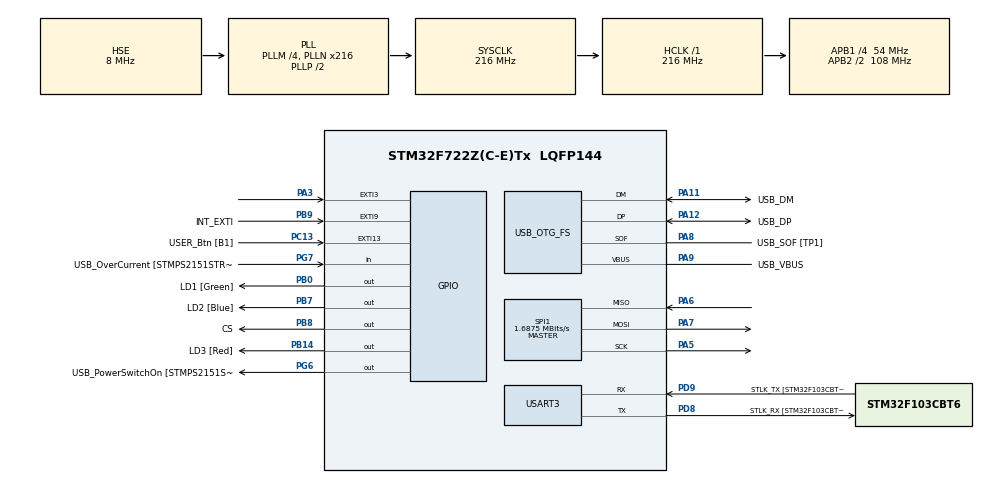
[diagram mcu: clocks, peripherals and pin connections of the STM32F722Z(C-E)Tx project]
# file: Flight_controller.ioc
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Dma.Request0=SPI1_RX
Dma.Request1=SPI1_TX
Dma.SPI1_RX.0.Direction=DMA_PERIPH_TO_MEMORY
Dma.SPI1_RX.0.FIFOMode=DMA_FIFOMODE_DISABLE
Dma.SPI1_RX.0.Instance=DMA2_Stream0
Dma.SPI1_RX.0.MemDataAlignment=DMA_MDATAALIGN_BYTE
Dma.SPI1_RX.0.MemInc=DMA_MINC_ENABLE
Dma.SPI1_RX.0.Mode=DMA_NORMAL
Dma.SPI1_RX.0.PeriphDataAlignment=DMA_PDATAALIGN_BYTE
Dma.SPI1_RX.0.PeriphInc=DMA_PINC_DISABLE
Dma.SPI1_RX.0.Priority=DMA_PRIORITY_HIGH
Dma.SPI1_TX.1.Direction=DMA_MEMORY_TO_PERIPH
Dma.SPI1_TX.1.FIFOMode=DMA_FIFOMODE_DISABLE
Dma.SPI1_TX.1.Instance=DMA2_Stream3
Dma.SPI1_TX.1.MemDataAlignment=DMA_MDATAALIGN_BYTE
Dma.SPI1_TX.1.MemInc=DMA_MINC_ENABLE
Dma.SPI1_TX.1.Mode=DMA_NORMAL
Dma.SPI1_TX.1.PeriphDataAlignment=DMA_PDATAALIGN_BYTE
Dma.SPI1_TX.1.PeriphInc=DMA_PINC_DISABLE
Dma.SPI1_TX.1.Priority=DMA_PRIORITY_HIGH
Mcu.Family=STM32F7
Mcu.Name=STM32F722Z(C-E)Tx
Mcu.Package=LQFP144
NVIC.DMA2_Stream0_IRQn=true\:0\:0\:false\:false\:true\:false\:true\:true
NVIC.DMA2_Stream3_IRQn=true\:0\:0\:false\:false\:true\:false\:true\:true
NVIC.PriorityGroup=NVIC_PRIORITYGROUP_4
NVIC.SPI1_IRQn=true\:0\:0\:false\:false\:true\:true\:true\:true
PA10.GPIO_Label=USB_ID
PA10.Signal=USB_OTG_FS_ID
PA11.GPIO_Label=USB_DM
PA11.Mode=Device_Only
PA11.Signal=USB_OTG_FS_DM
PA12.GPIO_Label=USB_DP
PA12.Mode=Device_Only
PA12.Signal=USB_OTG_FS_DP
PA13.GPIO_Label=TMS
PA13.Mode=Serial_Wire
PA13.Signal=SYS_JTMS-SWDIO
PA14.GPIO_Label=TCK
PA14.Mode=Serial_Wire
PA14.Signal=SYS_JTCK-SWCLK
PA3.Signal=GPXTI3
PA5.Mode=Full_Duplex_Master
PA5.Signal=SPI1_SCK
PA6.Mode=Full_Duplex_Master
PA6.Signal=SPI1_MISO
PA7.Mode=Full_Duplex_Master
PA7.Signal=SPI1_MOSI
PA8.GPIO_Label=USB_SOF [TP1]
PA8.Mode=Activate_SOF_FS
PA8.Signal=USB_OTG_FS_SOF
PA9.GPIO_Label=USB_VBUS
PA9.Mode=Activate_VBUS
PA9.Signal=USB_OTG_FS_VBUS
PB0.GPIO_Label=LD1 [Green]
PB0.Signal=GPIO_Output
PB14.GPIO_Label=LD3 [Red]
PB14.Signal=GPIO_Output
PB3.GPIO_Label=SWO
PB3.Signal=SYS_JTDO-SWO
PB7.GPIO_Label=LD2 [Blue]
PB7.Signal=GPIO_Output
PB8.GPIO_Label=CS
PB8.Signal=GPIO_Output
PB9.GPIO_Label=INT_EXTI
PB9.Signal=GPXTI9
PC13.GPIO_Label=USER_Btn [B1]
PC13.Signal=GPXTI13
PC14-OSC32_IN.Mode=LSE-External-Oscillator
PC14-OSC32_IN.Signal=RCC_OSC32_IN
PC15-OSC32_OUT.Mode=LSE-External-Oscillator
PC15-OSC32_OUT.Signal=RCC_OSC32_OUT
PD8.GPIO_Label=STLK_RX [STM32F103CBT6_PA3]
PD8.Mode=Asynchronous
PD8.Signal=USART3_TX
PD9.GPIO_Label=STLK_TX [STM32F103CBT6_PA2]
PD9.Mode=Asynchronous
PD9.Signal=USART3_RX
PG6.GPIO_Label=USB_PowerSwitchOn [STMPS2151STR_EN]
PG6.Signal=GPIO_Output
PG7.GPIO_Label=USB_OverCurrent [STMPS2151STR_FAULT]
PG7.Signal=GPIO_Input
PH0-OSC_IN.GPIO_Label=MCO
PH0-OSC_IN.Mode=HSE-External-Clock-Source
PH0-OSC_IN.Signal=RCC_OSC_IN
PH1-OSC_OUT.Mode=HSE-External-Clock-Source
PH1-OSC_OUT.Signal=RCC_OSC_OUT
ProjectManager.HeapSize=0x200
ProjectManager.StackSize=0x400
ProjectManager.TargetToolchain=STM32CubeIDE
RCC.48MHZClocksFreq_Value=24000000
RCC.AHBFreq_Value=216000000
RCC.APB1CLKDivider=RCC_HCLK_DIV4
RCC.APB1Freq_Value=54000000
RCC.APB1TimFreq_Value=108000000
RCC.APB2CLKDivider=RCC_HCLK_DIV2
RCC.APB2Freq_Value=108000000
RCC.APB2TimFreq_Value=216000000
RCC.CortexFreq_Value=216000000
RCC.HCLKFreq_Value=216000000
RCC.HSE_VALUE=8000000
RCC.HSI_VALUE=16000000
RCC.PLLM=4
RCC.PLLMUL=RCC_PLL_MUL9
RCC.PLLN=216
RCC.PLLQ=9
RCC.PRESCALERUSB=RCC_USBCLKSOURCE_PLL_DIV1_5
RCC.SYSCLKFreq_VALUE=216000000
RCC.SYSCLKSource=RCC_SYSCLKSOURCE_PLLCLK
RCC.SYSCLKSourceVirtual=RCC_SYSCLKSOURCE_PLLCLK
RCC.USBFreq_Value=48000000
RCC.VCOOutputFreq_Value=432000000
SPI1.BaudRatePrescaler=SPI_BAUDRATEPRESCALER_64
SPI1.CLKPhase=SPI_PHASE_2EDGE
SPI1.CLKPolarity=SPI_POLARITY_HIGH
SPI1.CalculateBaudRate=1.6875 MBits/s
SPI1.DataSize=SPI_DATASIZE_8BIT
SPI1.Direction=SPI_DIRECTION_2LINES
SPI1.Mode=SPI_MODE_MASTER
SPI1.VirtualType=VM_MASTER
USART3.VirtualMode-Asynchronous=VM_ASYNC
USB_OTG_FS.VirtualMode=Device_Only
board=NUCLEO-F722ZE

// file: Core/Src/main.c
/* USER CODE BEGIN Header */
/**
  ******************************************************************************
  * @file           : main.c
  * @brief          : Main program body
  ******************************************************************************
  * @attention
  *
  * Copyright (c) 2026 STMicroelectronics.
  * All rights reserved.
  *
  * This software is licensed under terms that can be found in the LICENSE file
  * in the root directory of this software component.
  * If no LICENSE file comes with this software, it is provided AS-IS.
  *
  ******************************************************************************
  */
/* USER CODE END Header */
#include "main.h"

/* USER CODE BEGIN Includes */
#include "mpu9250.h"
#include "mpu9250_calibration.h"
#include "uart_printf.h"
#include "timer_measure.h"
#include "control.h"
/* USER CODE END Includes */

SPI_HandleTypeDef hspi1;
DMA_HandleTypeDef hdma_spi1_rx;
DMA_HandleTypeDef hdma_spi1_tx;

UART_HandleTypeDef huart3;

PCD_HandleTypeDef hpcd_USB_OTG_FS;

/* USER CODE BEGIN PV */
MPU9250_Data mpu_data;
uint32_t last_read_time = 0;
TimerMeasure_t timer_accel_read;
TimerMeasure_t timer_mpu_read;
TimerMeasure_t timer_total;
/* USER CODE END PV */

void SystemClock_Config(void);
static void MX_GPIO_Init(void);
static void MX_DMA_Init(void);
static void MX_USB_OTG_FS_PCD_Init(void);
static void MX_SPI1_Init(void);
static void MX_USART3_UART_Init(void);

int main(void)
{

  /* MCU Configuration--------------------------------------------------------*/

  /* Reset of all peripherals, Initializes the Flash interface and the Systick. */
  HAL_Init();

  /* Configure the system clock */
  SystemClock_Config();

  /* Initialize all configured peripherals */
  MX_GPIO_Init();
  MX_DMA_Init();
  MX_USB_OTG_FS_PCD_Init();
  MX_SPI1_Init();
  MX_USART3_UART_Init();
  /* USER CODE BEGIN 2 */

  /* Timer inicializálása (DWT - mikroszekundum felbontás) */
  Timer_Init();
  HAL_Delay(100);

  /* MPU9250 inicializálása */
  MPU9250_Init(&hspi1);
  HAL_Delay(100);

  /* MPU9250 ellenőrzés */
  if (MPU9250_Check(&hspi1) == HAL_OK) {
    uart_printf("MPU9250 sikeresen inicializalva!\r\n");
    uart_printf("WHO_AM_I: 0x%02X\r\n", MPU9250_ReadReg(&hspi1, 0x75));

    /* DEBUG: Regiszterek ellenőrzése */
    uint8_t pwr_mgmt = MPU9250_ReadReg(&hspi1, 0x6B);  /* PWR_MGMT_1 */
    uint8_t accel_cfg = MPU9250_ReadReg(&hspi1, 0x1C); /* ACCEL_CONFIG */
    uint8_t gyro_cfg = MPU9250_ReadReg(&hspi1, 0x1B);  /* GYRO_CONFIG */
    uint8_t cfg = MPU9250_ReadReg(&hspi1, 0x1A);       /* CONFIG */

    uart_printf("PWR_MGMT_1: 0x%02X\r\n", pwr_mgmt);
    uart_printf("ACCEL_CONFIG: 0x%02X\r\n", accel_cfg);
    uart_printf("GYRO_CONFIG: 0x%02X\r\n", gyro_cfg);
    uart_printf("CONFIG: 0x%02X\r\n", cfg);
    /* Initialize magnetometer (AK8963) and read factory adjustments */
    if (MPU9250_MagInit(&hspi1) == HAL_OK) {
      uart_printf("AK8963 magnetometer initialized\r\n");
    } else {
      uart_printf("AK8963 initialization failed\r\n");
    }
  } else {
    uart_printf("MPU9250 inicializalasi hiba!\r\n");
  }

#ifdef CALIBRATE_DRONE
  /* Calibration mode: run full calibration and save to flash */
  uart_printf("\n========== CALIBRATION MODE ==========\r\n");
  uart_printf("Running full calibration...\r\n");
  if (MPU9250_CalibrateAll(&hspi1) == HAL_OK) {
    uart_printf("All calibrations successful\r\n");
    // Save calibration to flash
    if (MPU9250_SaveCalibration() == HAL_OK) {
      uart_printf("Calibration saved to flash!\r\n");
    } else {
      uart_printf("ERROR: Failed to save calibration to flash\r\n");
    }
  } else {
    uart_printf("Calibration failed\r\n");
  }
  uart_printf("========== CALIBRATION COMPLETE ==========\r\n\n");
#else
  /* Normal mode: load calibration from flash */
  uart_printf("\n========== NORMAL MODE (CALIBRATED) ==========\r\n");
  uart_printf("Loading calibration from flash...\r\n");
  if (MPU9250_LoadCalibration() != HAL_OK) {
    uart_printf("WARNING: No calibration found in flash. Please run calibration mode.\r\n");
  }
  uart_printf("========== READY ==========\r\n\n");
#endif

  int32_t accel_data_x;
  int32_t accel_data_y;
  int32_t accel_data_z;
  /* USER CODE END 2 */

  /* Infinite loop */
  while (1)
  {

    /* USER CODE BEGIN 3 */
    Control_Step(&hspi1, &mpu_data, &last_read_time, &timer_accel_read, &timer_mpu_read, &timer_total,10);
  }
  /* USER CODE END 3 */
}

void SystemClock_Config(void)
{
  RCC_OscInitTypeDef RCC_OscInitStruct = {0};
  RCC_ClkInitTypeDef RCC_ClkInitStruct = {0};

  /** Configure LSE Drive Capability
  */
  HAL_PWR_EnableBkUpAccess();

  /** Configure the main internal regulator output voltage
  */
  __HAL_RCC_PWR_CLK_ENABLE();
  __HAL_PWR_VOLTAGESCALING_CONFIG(PWR_REGULATOR_VOLTAGE_SCALE1);

  /** Initializes the RCC Oscillators according to the specified parameters
  * in the RCC_OscInitTypeDef structure.
  */
  RCC_OscInitStruct.OscillatorType = RCC_OSCILLATORTYPE_HSE;
  RCC_OscInitStruct.HSEState = RCC_HSE_BYPASS;
  RCC_OscInitStruct.PLL.PLLState = RCC_PLL_ON;
  RCC_OscInitStruct.PLL.PLLSource = RCC_PLLSOURCE_HSE;
  RCC_OscInitStruct.PLL.PLLM = 4;
  RCC_OscInitStruct.PLL.PLLN = 216;
  RCC_OscInitStruct.PLL.PLLP = RCC_PLLP_DIV2;
  RCC_OscInitStruct.PLL.PLLQ = 9;
  if (HAL_RCC_OscConfig(&RCC_OscInitStruct) != HAL_OK)
  {
    Error_Handler();
  }

  /** Activate the Over-Drive mode
  */
  if (HAL_PWREx_EnableOverDrive() != HAL_OK)
  {
    Error_Handler();
  }

  /** Initializes the CPU, AHB and APB buses clocks
  */
  RCC_ClkInitStruct.ClockType = RCC_CLOCKTYPE_HCLK|RCC_CLOCKTYPE_SYSCLK
                              |RCC_CLOCKTYPE_PCLK1|RCC_CLOCKTYPE_PCLK2;
  RCC_ClkInitStruct.SYSCLKSource = RCC_SYSCLKSOURCE_PLLCLK;
  RCC_ClkInitStruct.AHBCLKDivider = RCC_SYSCLK_DIV1;
  RCC_ClkInitStruct.APB1CLKDivider = RCC_HCLK_DIV4;
  RCC_ClkInitStruct.APB2CLKDivider = RCC_HCLK_DIV2;

  if (HAL_RCC_ClockConfig(&RCC_ClkInitStruct, FLASH_LATENCY_7) != HAL_OK)
  {
    Error_Handler();
  }
}

static void MX_SPI1_Init(void)
{

  /* SPI1 parameter configuration*/
  hspi1.Instance = SPI1;
  hspi1.Init.Mode = SPI_MODE_MASTER;
  hspi1.Init.Direction = SPI_DIRECTION_2LINES;
  hspi1.Init.DataSize = SPI_DATASIZE_8BIT;
  hspi1.Init.CLKPolarity = SPI_POLARITY_HIGH;
  hspi1.Init.CLKPhase = SPI_PHASE_2EDGE;
  hspi1.Init.NSS = SPI_NSS_SOFT;
  hspi1.Init.BaudRatePrescaler = SPI_BAUDRATEPRESCALER_64;
  hspi1.Init.FirstBit = SPI_FIRSTBIT_MSB;
  hspi1.Init.TIMode = SPI_TIMODE_DISABLE;
  hspi1.Init.CRCCalculation = SPI_CRCCALCULATION_DISABLE;
  hspi1.Init.CRCPolynomial = 7;
  hspi1.Init.CRCLength = SPI_CRC_LENGTH_DATASIZE;
  hspi1.Init.NSSPMode = SPI_NSS_PULSE_DISABLE;
  if (HAL_SPI_Init(&hspi1) != HAL_OK)
  {
    Error_Handler();
  }

}

static void MX_USART3_UART_Init(void)
{

  huart3.Instance = USART3;
  huart3.Init.BaudRate = 115200;
  huart3.Init.WordLength = UART_WORDLENGTH_8B;
  huart3.Init.StopBits = UART_STOPBITS_1;
  huart3.Init.Parity = UART_PARITY_NONE;
  huart3.Init.Mode = UART_MODE_TX_RX;
  huart3.Init.HwFlowCtl = UART_HWCONTROL_NONE;
  huart3.Init.OverSampling = UART_OVERSAMPLING_16;
  huart3.Init.OneBitSampling = UART_ONE_BIT_SAMPLE_DISABLE;
  huart3.AdvancedInit.AdvFeatureInit = UART_ADVFEATURE_NO_INIT;
  if (HAL_UART_Init(&huart3) != HAL_OK)
  {
    Error_Handler();
  }

}

static void MX_USB_OTG_FS_PCD_Init(void)
{

  hpcd_USB_OTG_FS.Instance = USB_OTG_FS;
  hpcd_USB_OTG_FS.Init.dev_endpoints = 6;
  hpcd_USB_OTG_FS.Init.speed = PCD_SPEED_FULL;
  hpcd_USB_OTG_FS.Init.dma_enable = DISABLE;
  hpcd_USB_OTG_FS.Init.phy_itface = PCD_PHY_EMBEDDED;
  hpcd_USB_OTG_FS.Init.Sof_enable = ENABLE;
  hpcd_USB_OTG_FS.Init.low_power_enable = DISABLE;
  hpcd_USB_OTG_FS.Init.lpm_enable = DISABLE;
  hpcd_USB_OTG_FS.Init.battery_charging_enable = ENABLE;
  hpcd_USB_OTG_FS.Init.vbus_sensing_enable = ENABLE;
  hpcd_USB_OTG_FS.Init.use_dedicated_ep1 = DISABLE;
  if (HAL_PCD_Init(&hpcd_USB_OTG_FS) != HAL_OK)
  {
    Error_Handler();
  }

}

static void MX_DMA_Init(void)
{

  /* DMA controller clock enable */
  __HAL_RCC_DMA2_CLK_ENABLE();

  /* DMA interrupt init */
  /* DMA2_Stream0_IRQn interrupt configuration */
  HAL_NVIC_SetPriority(DMA2_Stream0_IRQn, 0, 0);
  HAL_NVIC_EnableIRQ(DMA2_Stream0_IRQn);
  /* DMA2_Stream3_IRQn interrupt configuration */
  HAL_NVIC_SetPriority(DMA2_Stream3_IRQn, 0, 0);
  HAL_NVIC_EnableIRQ(DMA2_Stream3_IRQn);

}

static void MX_GPIO_Init(void)
{
  GPIO_InitTypeDef GPIO_InitStruct = {0};

  /* GPIO Ports Clock Enable */
  __HAL_RCC_GPIOC_CLK_ENABLE();
  __HAL_RCC_GPIOH_CLK_ENABLE();
  __HAL_RCC_GPIOA_CLK_ENABLE();
  __HAL_RCC_GPIOB_CLK_ENABLE();
  __HAL_RCC_GPIOD_CLK_ENABLE();
  __HAL_RCC_GPIOG_CLK_ENABLE();

  /*Configure GPIO pin Output Level */
  HAL_GPIO_WritePin(GPIOB, LD1_Pin|LD3_Pin|LD2_Pin|CS_Pin, GPIO_PIN_RESET);

  /*Configure GPIO pin Output Level */
  HAL_GPIO_WritePin(USB_PowerSwitchOn_GPIO_Port, USB_PowerSwitchOn_Pin, GPIO_PIN_RESET);

  /*Configure GPIO pin : USER_Btn_Pin */
  GPIO_InitStruct.Pin = USER_Btn_Pin;
  GPIO_InitStruct.Mode = GPIO_MODE_IT_RISING;
  GPIO_InitStruct.Pull = GPIO_NOPULL;
  HAL_GPIO_Init(USER_Btn_GPIO_Port, &GPIO_InitStruct);

  /*Configure GPIO pin : PA3 */
  GPIO_InitStruct.Pin = GPIO_PIN_3;
  GPIO_InitStruct.Mode = GPIO_MODE_IT_RISING;
  GPIO_InitStruct.Pull = GPIO_NOPULL;
  HAL_GPIO_Init(GPIOA, &GPIO_InitStruct);

  /*Configure GPIO pins : LD1_Pin LD3_Pin LD2_Pin CS_Pin */
  GPIO_InitStruct.Pin = LD1_Pin|LD3_Pin|LD2_Pin|CS_Pin;
  GPIO_InitStruct.Mode = GPIO_MODE_OUTPUT_PP;
  GPIO_InitStruct.Pull = GPIO_NOPULL;
  GPIO_InitStruct.Speed = GPIO_SPEED_FREQ_LOW;
  HAL_GPIO_Init(GPIOB, &GPIO_InitStruct);

  /*Configure GPIO pin : USB_PowerSwitchOn_Pin */
  GPIO_InitStruct.Pin = USB_PowerSwitchOn_Pin;
  GPIO_InitStruct.Mode = GPIO_MODE_OUTPUT_PP;
  GPIO_InitStruct.Pull = GPIO_NOPULL;
  GPIO_InitStruct.Speed = GPIO_SPEED_FREQ_LOW;
  HAL_GPIO_Init(USB_PowerSwitchOn_GPIO_Port, &GPIO_InitStruct);

  /*Configure GPIO pin : USB_OverCurrent_Pin */
  GPIO_InitStruct.Pin = USB_OverCurrent_Pin;
  GPIO_InitStruct.Mode = GPIO_MODE_INPUT;
  GPIO_InitStruct.Pull = GPIO_NOPULL;
  HAL_GPIO_Init(USB_OverCurrent_GPIO_Port, &GPIO_InitStruct);

  /*Configure GPIO pin : INT_EXTI_Pin */
  GPIO_InitStruct.Pin = INT_EXTI_Pin;
  GPIO_InitStruct.Mode = GPIO_MODE_IT_RISING;
  GPIO_InitStruct.Pull = GPIO_NOPULL;
  HAL_GPIO_Init(INT_EXTI_GPIO_Port, &GPIO_InitStruct);

}

void Error_Handler(void)
{
  __disable_irq();
  while (1)
  {
  }
}
